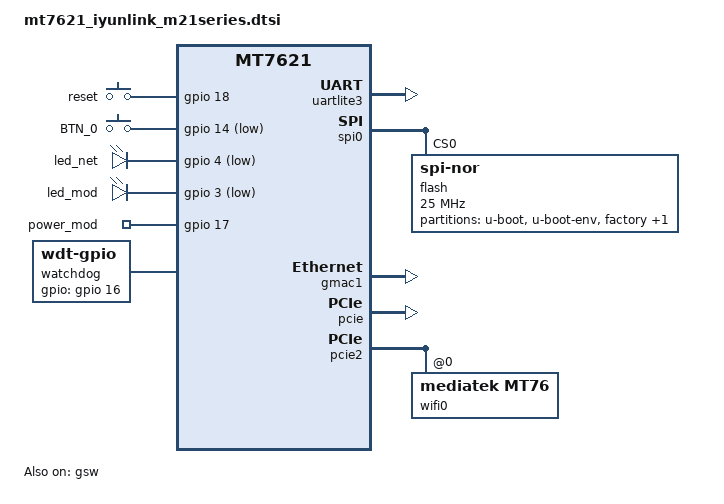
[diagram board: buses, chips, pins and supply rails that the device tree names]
// SPDX-License-Identifier: GPL-2.0-or-later

#include "mt7621.dtsi"

#include <dt-bindings/gpio/gpio.h>
#include <dt-bindings/input/input.h>

/ {
	compatible = "mediatek,mt7621-soc";

	aliases {
		led-boot = &net_status;
		led-failsafe = &net_status;
		led-running = &net_status;
		led-upgrade = &net_status;
		label-mac-device = &wifi0;
	};

	chosen {
		bootargs = "console=ttyS0,115200";
	};

	keys {
		compatible = "gpio-keys";

		reset {
			label = "reset";
			gpios = <&gpio 18 GPIO_ACTIVE_HIGH>;
			linux,code = <KEY_RESTART>;
		};

		sim_det {
			label = "BTN_0";
			gpios = <&gpio 14 1>; //gpio14 
			linux,code = <0x100>;
		};
	};

	leds {
		compatible = "gpio-leds";

		net_status: net {
			label = "led_net";
			gpios = <&gpio 4 GPIO_ACTIVE_LOW>;
		};
		mod_status:mod{
			label = "led_mod";
			gpios = <&gpio 3 GPIO_ACTIVE_LOW>;
		};
	};

	gpio_export {
		compatible = "gpio-export";
		#size-cells = <0>;

		power_mod {
			gpio-export,name = "power_mod";
			gpio-export,output = <1>;
			gpios = <&gpio 17 GPIO_ACTIVE_HIGH>;
		};

	};

	watchdog {
		compatible = "linux,wdt-gpio";
		gpios = <&gpio 16 GPIO_ACTIVE_HIGH>;
		hw_algo = "toggle";
		hw_margin_ms = <1300>;
		always-running;
	};
};

&uartlite3 {
	status = "okay";
};

&spi0 {
	status = "okay";

	flash@0 {
		compatible = "jedec,spi-nor";
		reg = <0>;
		spi-max-frequency = <25000000>;
		broken-flash-reset;
		m25p,fast-read;

		partitions {
			compatible = "fixed-partitions";
			#address-cells = <1>;
			#size-cells = <1>;

			partition@0 {
				label = "u-boot";
				reg = <0x0 0x30000>;
				read-only;
			};

			partition@30000 {
				label = "u-boot-env";
				reg = <0x30000 0x10000>;
				read-only;
			};

			factory: partition@40000 {
				label = "factory";
				reg = <0x40000 0x10000>;
				read-only;
			};

			partition@50000 {
				compatible = "denx,uimage";
				label = "firmware";
				reg = <0x50000 0x1fb0000>;
			};
		};
	};
};

&gmac0 {
	mtd-mac-address = <&factory 0xe000>;
};

&gmac1 {
	mtd-mac-address = <&factory 0xe000>;
	mtd-mac-address-increment = <1>;
	status = "okay";
};

&gsw {
	mediatek,portmap = "llllw";
	status = "okay";
};

&hnat {
	mtketh-wan = "eth1";
	mtketh-ppd = "eth0";
	mtketh-lan = "eth0";
	mtketh-max-gmac = <2>;
	/delete-property/ mtkdsa-wan-port;
};

&switch0 {
	status = "disabled";
};

&pcie {
	status = "okay";
};

&pcie2 {
	wifi0:wifi@0,0 {
		compatible = "mediatek,mt76";
		reg = <0x0000 0 0 0 0>;
		mediatek,mtd-eeprom = <&factory 0x8000>;
	};
};


